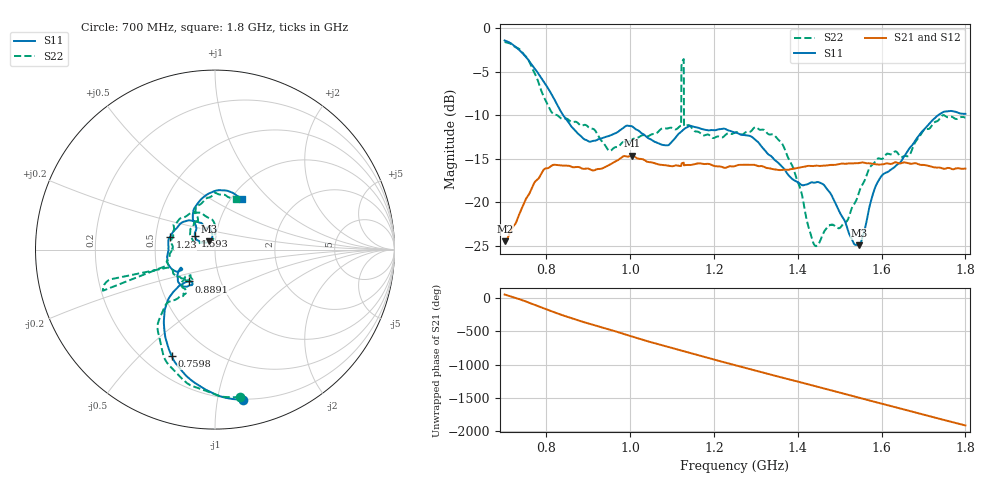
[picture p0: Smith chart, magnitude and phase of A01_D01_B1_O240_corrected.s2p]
! Created with skrf 1.9.0 (http://scikit-rf.org).
# Hz S RI R 50.0
!freq ReS11 ImS11 ReS21 ImS21 ReS12 ImS12 ReS22 ImS22
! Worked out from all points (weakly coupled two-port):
!   1601 points, 700 MHz to 1.8 GHz, reference 50 ohm
!   highest |S21| = -14.64 dB at 1.005 GHz (marker M1); lowest = -24.5 dB at 700.7 MHz (marker M2)
!   lowest |S11| = -25.0 dB at 1.546 GHz (marker M3), VSWR 1.12, Z = 46.5 + j4.22 ohm
!   |S11| at or under -10 dB: 839.7 MHz to 1.735 GHz (895.1 MHz wide, 69.5 % of centre)
!   |S22| runs from -25.1 to -1.6 dB; largest |S21 - S12| = 0.0038
!   S11 on the Smith chart (normalised r, x): 700 MHz: 0.20, -1.19; 759.8 MHz: 0.31, -0.63; 889.1 MHz: 0.70, -0.26; 1.23 GHz: 0.59, +0.09; 1.593 GHz: 0.79, +0.12; 1.8 GHz: 1.12, +0.71
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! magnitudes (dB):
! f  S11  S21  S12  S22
! 700 MHz  -1.4  -24.5  -24.3  -1.6
! 700.7 MHz  -1.4  -24.5  -24.2  -1.6
! 759.8 MHz  -3.9  -18.9  -18.8  -3.9
! 812.8 MHz  -7.7  -15.8  -15.8  -9.7
! 883.6 MHz  -12.5  -16.1  -16.0  -11.2
! 889.1 MHz  -12.7  -16.2  -16.1  -11.1
! 950.2 MHz  -12.4  -15.7  -15.7  -14.1
! 1.005 GHz  -11.3  -14.6  -14.8  -12.8
! 1.067 GHz  -13.2  -15.7  -15.6  -11.9
! 1.116 GHz  -12.1  -15.8  -15.8  -11.4
! 1.126 GHz  -11.7  -15.5  -15.5  -3.7
! 1.134 GHz  -11.4  -15.7  -15.8  -11.2
! 1.23 GHz  -11.7  -16.0  -15.9  -12.1
! 1.25 GHz  -12.0  -15.9  -15.8  -12.0
! 1.361 GHz  -15.8  -16.3  -16.3  -13.2
! 1.434 GHz  -17.7  -15.9  -15.8  -24.2
! 1.503 GHz  -21.4  -15.6  -15.6  -22.8
! 1.546 GHz  -25.0  -15.5  -15.5  -18.8
! 1.593 GHz  -17.5  -15.7  -15.7  -15.0
! 1.617 GHz  -16.4  -15.6  -15.5  -14.4
! 1.735 GHz  -10.0  -16.0  -16.1  -10.6
! 1.8 GHz  -9.8  -16.1  -16.1  -10.3
